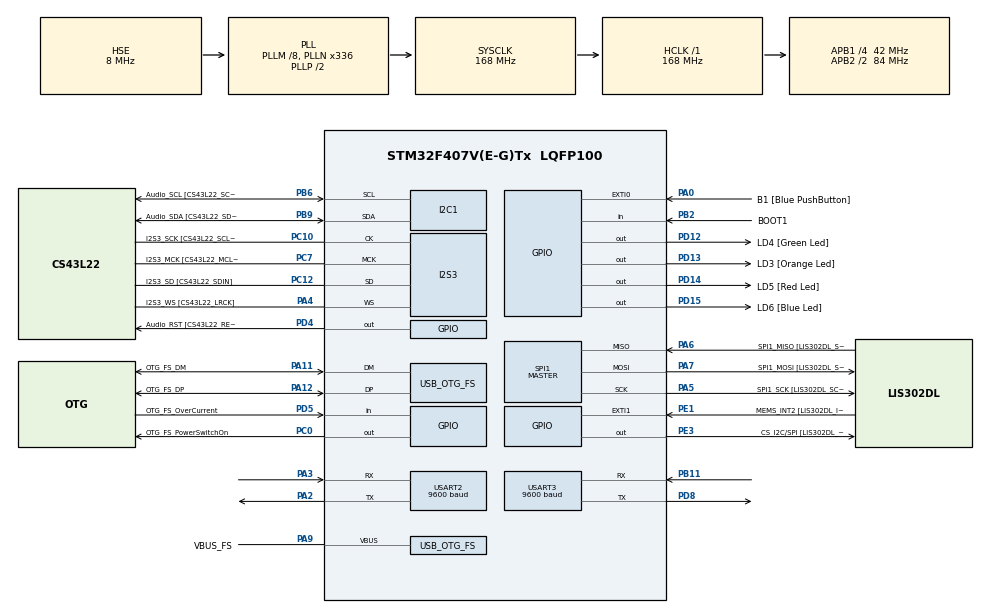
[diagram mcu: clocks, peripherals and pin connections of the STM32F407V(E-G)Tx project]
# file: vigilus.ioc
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I2S3.AudioFreq-Half_Duplex_Master=I2S_AUDIOFREQ_96K
I2S3.ErrorAudioFreq=-2.34 %
I2S3.ErrorAudioFreq-Half_Duplex_Master=0.8 %
I2S3.FullDuplexMode=I2S_FULLDUPLEXMODE_DISABLE
I2S3.Instance=SPI$Index
I2S3.RealAudioFreq=93.75 KHz
I2S3.RealAudioFreq-Half_Duplex_Master=96.774 KHz
I2S3.VirtualMode=I2S_MODE_MASTER
Mcu.Family=STM32F4
Mcu.Name=STM32F407V(E-G)Tx
Mcu.Package=LQFP100
NVIC.OTG_FS_IRQn=true\:0\:0\:false\:false\:true\:true\:true\:true
NVIC.PriorityGroup=NVIC_PRIORITYGROUP_0
NVIC.USART2_IRQn=true\:0\:0\:false\:false\:true\:true\:true\:true
NVIC.USART3_IRQn=true\:0\:0\:false\:false\:true\:true\:true\:true
PA0-WKUP.GPIO_Label=B1 [Blue PushButton]
PA0-WKUP.GPIO_ModeDefaultEXTI=GPIO_MODE_EVT_RISING
PA0-WKUP.GPIO_PuPd=GPIO_NOPULL
PA0-WKUP.Signal=GPXTI0
PA10.GPIO_Label=OTG_FS_ID
PA10.GPIO_Mode=GPIO_MODE_AF_PP
PA10.GPIO_PuPd=GPIO_NOPULL
PA10.GPIO_Speed=GPIO_SPEED_FREQ_LOW
PA10.Signal=USB_OTG_FS_ID
PA11.GPIO_Label=OTG_FS_DM
PA11.GPIO_Mode=GPIO_MODE_AF_PP
PA11.GPIO_PuPd=GPIO_NOPULL
PA11.GPIO_Speed=GPIO_SPEED_FREQ_LOW
PA11.Mode=Host_Only
PA11.Signal=USB_OTG_FS_DM
PA12.GPIO_Label=OTG_FS_DP
PA12.GPIO_Mode=GPIO_MODE_AF_PP
PA12.GPIO_PuPd=GPIO_NOPULL
PA12.GPIO_Speed=GPIO_SPEED_FREQ_LOW
PA12.Mode=Host_Only
PA12.Signal=USB_OTG_FS_DP
PA13.GPIO_Label=SWDIO
PA13.Mode=Serial_Wire
PA13.Signal=SYS_JTMS-SWDIO
PA14.GPIO_Label=SWCLK
PA14.Mode=Serial_Wire
PA14.Signal=SYS_JTCK-SWCLK
PA2.Mode=Asynchronous
PA2.Signal=USART2_TX
PA3.Mode=Asynchronous
PA3.Signal=USART2_RX
PA4.GPIO_Label=I2S3_WS [CS43L22_LRCK]
PA4.GPIO_Mode=GPIO_MODE_AF_PP
PA4.GPIO_PuPd=GPIO_NOPULL
PA4.GPIO_Speed=GPIO_SPEED_FREQ_LOW
PA4.Mode=Half_Duplex_Master
PA4.Signal=I2S3_WS
PA5.GPIO_Label=SPI1_SCK [LIS302DL_SCL/SPC]
PA5.GPIO_Mode=GPIO_MODE_AF_PP
PA5.GPIO_PuPd=GPIO_NOPULL
PA5.GPIO_Speed=GPIO_SPEED_FREQ_LOW
PA5.Mode=Full_Duplex_Master
PA5.Signal=SPI1_SCK
PA6.GPIO_Label=SPI1_MISO [LIS302DL_SDO]
PA6.GPIO_Mode=GPIO_MODE_AF_PP
PA6.GPIO_PuPd=GPIO_NOPULL
PA6.GPIO_Speed=GPIO_SPEED_FREQ_LOW
PA6.Mode=Full_Duplex_Master
PA6.Signal=SPI1_MISO
PA7.GPIO_Label=SPI1_MOSI [LIS302DL_SDA/SDI/SDO]
PA7.GPIO_Mode=GPIO_MODE_AF_PP
PA7.GPIO_PuPd=GPIO_NOPULL
PA7.GPIO_Speed=GPIO_SPEED_FREQ_LOW
PA7.Mode=Full_Duplex_Master
PA7.Signal=SPI1_MOSI
PA9.GPIO_Label=VBUS_FS
PA9.GPIO_Mode=GPIO_MODE_INPUT
PA9.GPIO_PuPd=GPIO_NOPULL
PA9.Mode=Activate_VBUS
PA9.Signal=USB_OTG_FS_VBUS
PB10.GPIO_Label=CLK_IN [MP45DT02_CLK]
PB10.GPIO_Mode=GPIO_MODE_AF_PP
PB10.GPIO_PuPd=GPIO_NOPULL
PB10.GPIO_Speed=GPIO_SPEED_FREQ_LOW
PB10.Signal=I2S2_CK
PB11.Mode=Asynchronous
PB11.Signal=USART3_RX
PB2.GPIO_Label=BOOT1
PB2.GPIO_Mode=GPIO_MODE_INPUT
PB2.GPIO_PuPd=GPIO_NOPULL
PB2.Signal=GPIO_Input
PB3.GPIO_Label=SWO
PB3.Signal=SYS_JTDO-SWO
PB6.GPIO_Label=Audio_SCL [CS43L22_SCL]
PB6.GPIO_Mode=GPIO_MODE_AF_OD
PB6.GPIO_Pu=GPIO_PULLUP
PB6.GPIO_PuPd=GPIO_NOPULL
PB6.GPIO_Speed=GPIO_SPEED_FREQ_LOW
PB6.Mode=I2C
PB6.Signal=I2C1_SCL
PB9.GPIO_Label=Audio_SDA [CS43L22_SDA]
PB9.GPIO_Mode=GPIO_MODE_AF_OD
PB9.GPIO_Pu=GPIO_PULLUP
PB9.GPIO_PuPd=GPIO_NOPULL
PB9.GPIO_Speed=GPIO_SPEED_FREQ_LOW
PB9.Mode=I2C
PB9.Signal=I2C1_SDA
PC0.GPIO_Label=OTG_FS_PowerSwitchOn
PC0.GPIO_PuPd=GPIO_NOPULL
PC0.GPIO_Speed=GPIO_SPEED_FREQ_LOW
PC0.PinState=GPIO_PIN_SET
PC0.Signal=GPIO_Output
PC10.GPIO_Label=I2S3_SCK [CS43L22_SCLK]
PC10.GPIO_Mode=GPIO_MODE_AF_PP
PC10.GPIO_PuPd=GPIO_NOPULL
PC10.GPIO_Speed=GPIO_SPEED_FREQ_LOW
PC10.Mode=Half_Duplex_Master
PC10.Signal=I2S3_CK
PC12.GPIO_Label=I2S3_SD [CS43L22_SDIN]
PC12.GPIO_Mode=GPIO_MODE_AF_PP
PC12.GPIO_PuPd=GPIO_NOPULL
PC12.GPIO_Speed=GPIO_SPEED_FREQ_LOW
PC12.Mode=Half_Duplex_Master
PC12.Signal=I2S3_SD
PC14-OSC32_IN.GPIO_Label=PC14-OSC32_IN
PC14-OSC32_IN.Mode=LSE-External-Oscillator
PC14-OSC32_IN.Signal=RCC_OSC32_IN
PC15-OSC32_OUT.GPIO_Label=PC15-OSC32_OUT
PC15-OSC32_OUT.Mode=LSE-External-Oscillator
PC15-OSC32_OUT.Signal=RCC_OSC32_OUT
PC3.GPIO_Label=PDM_OUT [MP45DT02_DOUT]
PC3.GPIO_Mode=GPIO_MODE_AF_PP
PC3.GPIO_PuPd=GPIO_NOPULL
PC3.GPIO_Speed=GPIO_SPEED_FREQ_LOW
PC3.Signal=I2S2_SD
PC7.GPIO_Label=I2S3_MCK [CS43L22_MCLK]
PC7.GPIO_Mode=GPIO_MODE_AF_PP
PC7.GPIO_PuPd=GPIO_NOPULL
PC7.GPIO_Speed=GPIO_SPEED_FREQ_LOW
PC7.Mode=Master_Clock_Activated
PC7.Signal=I2S3_MCK
PD12.GPIO_Label=LD4 [Green Led]
PD12.GPIO_PuPd=GPIO_NOPULL
PD12.GPIO_Speed=GPIO_SPEED_FREQ_LOW
PD12.Signal=GPIO_Output
PD13.GPIO_Label=LD3 [Orange Led]
PD13.GPIO_PuPd=GPIO_NOPULL
PD13.GPIO_Speed=GPIO_SPEED_FREQ_LOW
PD13.Signal=GPIO_Output
PD14.GPIO_Label=LD5 [Red Led]
PD14.GPIO_PuPd=GPIO_NOPULL
PD14.GPIO_Speed=GPIO_SPEED_FREQ_LOW
PD14.Signal=GPIO_Output
PD15.GPIO_Label=LD6 [Blue Led]
PD15.GPIO_PuPd=GPIO_NOPULL
PD15.GPIO_Speed=GPIO_SPEED_FREQ_LOW
PD15.Signal=GPIO_Output
PD4.GPIO_Label=Audio_RST [CS43L22_RESET]
PD4.GPIO_PuPd=GPIO_NOPULL
PD4.GPIO_Speed=GPIO_SPEED_FREQ_LOW
PD4.Signal=GPIO_Output
PD5.GPIO_Label=OTG_FS_OverCurrent
PD5.GPIO_Mode=GPIO_MODE_INPUT
PD5.GPIO_PuPd=GPIO_NOPULL
PD5.Signal=GPIO_Input
PD8.Mode=Asynchronous
PD8.Signal=USART3_TX
PE1.GPIO_Label=MEMS_INT2 [LIS302DL_INT2]
PE1.GPIO_ModeDefaultEXTI=GPIO_MODE_EVT_RISING
PE1.GPIO_PuPd=GPIO_NOPULL
PE1.Signal=GPXTI1
PE3.GPIO_Label=CS_I2C/SPI [LIS302DL_CS_I2C/SPI]
PE3.GPIO_PuPd=GPIO_NOPULL
PE3.GPIO_Speed=GPIO_SPEED_FREQ_LOW
PE3.Signal=GPIO_Output
PH0-OSC_IN.GPIO_Label=PH0-OSC_IN
PH0-OSC_IN.Mode=HSE-External-Oscillator
PH0-OSC_IN.Signal=RCC_OSC_IN
PH1-OSC_OUT.GPIO_Label=PH1-OSC_OUT
PH1-OSC_OUT.Mode=HSE-External-Oscillator
PH1-OSC_OUT.Signal=RCC_OSC_OUT
ProjectManager.HeapSize=0x200
ProjectManager.StackSize=0x400
ProjectManager.TargetToolchain=STM32CubeIDE
RCC.48MHZClocksFreq_Value=48000000
RCC.AHBFreq_Value=168000000
RCC.APB1CLKDivider=RCC_HCLK_DIV4
RCC.APB1Freq_Value=42000000
RCC.APB1TimFreq_Value=84000000
RCC.APB2CLKDivider=RCC_HCLK_DIV2
RCC.APB2Freq_Value=84000000
RCC.APB2TimFreq_Value=168000000
RCC.CortexFreq_Value=168000000
RCC.HCLKFreq_Value=168000000
RCC.HSE_VALUE=8000000
RCC.HSI_VALUE=16000000
RCC.PLLM=8
RCC.PLLN=336
RCC.PLLQ=7
RCC.SYSCLKFreq_VALUE=168000000
RCC.SYSCLKSource=RCC_SYSCLKSOURCE_PLLCLK
RCC.VCOOutputFreq_Value=336000000
SPI1.BaudRatePrescaler-Full_Duplex_Master=SPI_BAUDRATEPRESCALER_2
SPI1.CalculateBaudRate-Full_Duplex_Master=42.0 MBits/s
SPI1.Direction=SPI_DIRECTION_2LINES
SPI1.Mode=SPI_MODE_MASTER
SPI1.Mode-Full_Duplex_Master=SPI_MODE_MASTER
SPI1.VirtualType=VM_MASTER
USART2.BaudRate=9600
USART2.VirtualMode=VM_ASYNC
USART3.BaudRate=9600
USART3.VirtualMode=VM_ASYNC
USB_HOST.BSP.number=1
USB_HOST.USBH_HandleTypeDef-CDC_FS=hUsbHostFS
USB_HOST.VirtualModeFS=Cdc
USB_HOST0.BSP.STBoard=false
USB_HOST0.BSP.api=Unknown
USB_HOST0.BSP.instance=PC0
USB_HOST0.BSP.ip=GPIO
USB_HOST0.BSP.mode=Output
USB_HOST0.BSP.name=Drive_VBUS_FS
USB_HOST0.BSP.solution=PC0
USB_OTG_FS.VirtualMode=Host_Only
USB_OTG_FS.phy_itface=HCD_PHY_EMBEDDED
VP_USB_HOST_VS_USB_HOST_CDC_FS.Mode=CDC_FS
board=STM32F407G-DISC1

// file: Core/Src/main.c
/* USER CODE BEGIN Header */
/**
  ******************************************************************************
  * @file           : main.c
  * @brief          : Main program body
  ******************************************************************************
  */
/* USER CODE END Header */

#include "main.h"
#include "usb_host.h"
#include "mpu9250.h"
#include "bmp280.h"
#include "neo_m8n.h"
#include "xbee.h"

I2C_HandleTypeDef  hi2c1;
I2S_HandleTypeDef  hi2s3;
SPI_HandleTypeDef  hspi1;
UART_HandleTypeDef huart2;
UART_HandleTypeDef huart3;

/* USER CODE BEGIN PV */
MPU9250_Data imu       = {0};
BMP280_Data  bmp       = {0};
GPS_Data     gps       = {0};
uint32_t     last_tick = 0;
/* USER CODE END PV */

void SystemClock_Config(void);
static void MX_GPIO_Init(void);
static void MX_I2C1_Init(void);
static void MX_I2S3_Init(void);
static void MX_SPI1_Init(void);
static void MX_USART2_UART_Init(void);
static void MX_USART3_UART_Init(void);
void MX_USB_HOST_Process(void);

int main(void)
{
  HAL_Init();
  SystemClock_Config();

  MX_GPIO_Init();
  MX_I2C1_Init();
  MX_I2S3_Init();
  MX_SPI1_Init();
  MX_USB_HOST_Init();
  MX_USART2_UART_Init();
  MX_USART3_UART_Init();

  /* USER CODE BEGIN 2 */
  if (MPU9250_Init(&hi2c1) != HAL_OK) {
      HAL_GPIO_WritePin(GPIOD, LD5_Pin, GPIO_PIN_SET); // Kırmızı → MPU hata
      while(1);
  }
  if (BMP280_Init(&hi2c1) != HAL_OK) {
      HAL_GPIO_WritePin(GPIOD, LD3_Pin, GPIO_PIN_SET); // Turuncu → BMP hata
      while(1);
  }
  HAL_GPIO_WritePin(GPIOD, LD4_Pin, GPIO_PIN_SET);     // Yeşil → init OK
  GPS_Init(&huart2);
  /* USER CODE END 2 */

  while (1)
  {
    /* USER CODE BEGIN WHILE */
    MX_USB_HOST_Process();

    if (HAL_GetTick() - last_tick >= 1000)
    {
      last_tick = HAL_GetTick();

      MPU9250_ReadAll(&hi2c1, &imu);
      BMP280_Read(&hi2c1, &bmp);
      GPS_GetLatest(&gps);
      XBee_SendPacket(&huart3, &imu, &bmp, &gps);
    }

    /* USER CODE END WHILE */
  }
}

void SystemClock_Config(void)
{
  RCC_OscInitTypeDef RCC_OscInitStruct = {0};
  RCC_ClkInitTypeDef RCC_ClkInitStruct = {0};

  __HAL_RCC_PWR_CLK_ENABLE();
  __HAL_PWR_VOLTAGESCALING_CONFIG(PWR_REGULATOR_VOLTAGE_SCALE1);

  RCC_OscInitStruct.OscillatorType = RCC_OSCILLATORTYPE_HSE;
  RCC_OscInitStruct.HSEState       = RCC_HSE_ON;
  RCC_OscInitStruct.PLL.PLLState   = RCC_PLL_ON;
  RCC_OscInitStruct.PLL.PLLSource  = RCC_PLLSOURCE_HSE;
  RCC_OscInitStruct.PLL.PLLM       = 8;
  RCC_OscInitStruct.PLL.PLLN       = 336;
  RCC_OscInitStruct.PLL.PLLP       = RCC_PLLP_DIV2;
  RCC_OscInitStruct.PLL.PLLQ       = 7;
  if (HAL_RCC_OscConfig(&RCC_OscInitStruct) != HAL_OK) { Error_Handler(); }

  RCC_ClkInitStruct.ClockType      = RCC_CLOCKTYPE_HCLK | RCC_CLOCKTYPE_SYSCLK
                                   | RCC_CLOCKTYPE_PCLK1 | RCC_CLOCKTYPE_PCLK2;
  RCC_ClkInitStruct.SYSCLKSource   = RCC_SYSCLKSOURCE_PLLCLK;
  RCC_ClkInitStruct.AHBCLKDivider  = RCC_SYSCLK_DIV1;
  RCC_ClkInitStruct.APB1CLKDivider = RCC_HCLK_DIV4;
  RCC_ClkInitStruct.APB2CLKDivider = RCC_HCLK_DIV2;
  if (HAL_RCC_ClockConfig(&RCC_ClkInitStruct, FLASH_LATENCY_5) != HAL_OK) { Error_Handler(); }
}

static void MX_I2C1_Init(void)
{
  hi2c1.Instance             = I2C1;
  hi2c1.Init.ClockSpeed      = 100000;
  hi2c1.Init.DutyCycle       = I2C_DUTYCYCLE_2;
  hi2c1.Init.OwnAddress1     = 0;
  hi2c1.Init.AddressingMode  = I2C_ADDRESSINGMODE_7BIT;
  hi2c1.Init.DualAddressMode = I2C_DUALADDRESS_DISABLE;
  hi2c1.Init.OwnAddress2     = 0;
  hi2c1.Init.GeneralCallMode = I2C_GENERALCALL_DISABLE;
  hi2c1.Init.NoStretchMode   = I2C_NOSTRETCH_DISABLE;
  if (HAL_I2C_Init(&hi2c1) != HAL_OK) { Error_Handler(); }
}

static void MX_I2S3_Init(void)
{
  hi2s3.Instance            = SPI3;
  hi2s3.Init.Mode           = I2S_MODE_MASTER_TX;
  hi2s3.Init.Standard       = I2S_STANDARD_PHILIPS;
  hi2s3.Init.DataFormat     = I2S_DATAFORMAT_16B;
  hi2s3.Init.MCLKOutput     = I2S_MCLKOUTPUT_ENABLE;
  hi2s3.Init.AudioFreq      = I2S_AUDIOFREQ_96K;
  hi2s3.Init.CPOL           = I2S_CPOL_LOW;
  hi2s3.Init.ClockSource    = I2S_CLOCK_PLL;
  hi2s3.Init.FullDuplexMode = I2S_FULLDUPLEXMODE_DISABLE;
  if (HAL_I2S_Init(&hi2s3) != HAL_OK) { Error_Handler(); }
}

static void MX_SPI1_Init(void)
{
  hspi1.Instance               = SPI1;
  hspi1.Init.Mode              = SPI_MODE_MASTER;
  hspi1.Init.Direction         = SPI_DIRECTION_2LINES;
  hspi1.Init.DataSize          = SPI_DATASIZE_8BIT;
  hspi1.Init.CLKPolarity       = SPI_POLARITY_LOW;
  hspi1.Init.CLKPhase          = SPI_PHASE_1EDGE;
  hspi1.Init.NSS               = SPI_NSS_SOFT;
  hspi1.Init.BaudRatePrescaler = SPI_BAUDRATEPRESCALER_2;
  hspi1.Init.FirstBit          = SPI_FIRSTBIT_MSB;
  hspi1.Init.TIMode            = SPI_TIMODE_DISABLE;
  hspi1.Init.CRCCalculation    = SPI_CRCCALCULATION_DISABLE;
  hspi1.Init.CRCPolynomial     = 10;
  if (HAL_SPI_Init(&hspi1) != HAL_OK) { Error_Handler(); }
}

static void MX_USART2_UART_Init(void)
{
  huart2.Instance          = USART2;
  huart2.Init.BaudRate     = 9600;
  huart2.Init.WordLength   = UART_WORDLENGTH_8B;
  huart2.Init.StopBits     = UART_STOPBITS_1;
  huart2.Init.Parity       = UART_PARITY_NONE;
  huart2.Init.Mode         = UART_MODE_TX_RX;
  huart2.Init.HwFlowCtl    = UART_HWCONTROL_NONE;
  huart2.Init.OverSampling = UART_OVERSAMPLING_16;
  if (HAL_UART_Init(&huart2) != HAL_OK) { Error_Handler(); }
}

static void MX_USART3_UART_Init(void)
{
  huart3.Instance          = USART3;
  huart3.Init.BaudRate     = 9600;
  huart3.Init.WordLength   = UART_WORDLENGTH_8B;
  huart3.Init.StopBits     = UART_STOPBITS_1;
  huart3.Init.Parity       = UART_PARITY_NONE;
  huart3.Init.Mode         = UART_MODE_TX_RX;
  huart3.Init.HwFlowCtl    = UART_HWCONTROL_NONE;
  huart3.Init.OverSampling = UART_OVERSAMPLING_16;
  if (HAL_UART_Init(&huart3) != HAL_OK) { Error_Handler(); }
}

static void MX_GPIO_Init(void)
{
  GPIO_InitTypeDef GPIO_InitStruct = {0};

  __HAL_RCC_GPIOE_CLK_ENABLE();
  __HAL_RCC_GPIOC_CLK_ENABLE();
  __HAL_RCC_GPIOH_CLK_ENABLE();
  __HAL_RCC_GPIOA_CLK_ENABLE();
  __HAL_RCC_GPIOB_CLK_ENABLE();
  __HAL_RCC_GPIOD_CLK_ENABLE();

  HAL_GPIO_WritePin(CS_I2C_SPI_GPIO_Port, CS_I2C_SPI_Pin, GPIO_PIN_RESET);
  HAL_GPIO_WritePin(OTG_FS_PowerSwitchOn_GPIO_Port, OTG_FS_PowerSwitchOn_Pin, GPIO_PIN_SET);
  HAL_GPIO_WritePin(GPIOD, LD4_Pin|LD3_Pin|LD5_Pin|LD6_Pin|Audio_RST_Pin, GPIO_PIN_RESET);

  GPIO_InitStruct.Pin   = CS_I2C_SPI_Pin;
  GPIO_InitStruct.Mode  = GPIO_MODE_OUTPUT_PP;
  GPIO_InitStruct.Pull  = GPIO_NOPULL;
  GPIO_InitStruct.Speed = GPIO_SPEED_FREQ_LOW;
  HAL_GPIO_Init(CS_I2C_SPI_GPIO_Port, &GPIO_InitStruct);

  GPIO_InitStruct.Pin   = OTG_FS_PowerSwitchOn_Pin;
  GPIO_InitStruct.Mode  = GPIO_MODE_OUTPUT_PP;
  GPIO_InitStruct.Pull  = GPIO_NOPULL;
  GPIO_InitStruct.Speed = GPIO_SPEED_FREQ_LOW;
  HAL_GPIO_Init(OTG_FS_PowerSwitchOn_GPIO_Port, &GPIO_InitStruct);

  GPIO_InitStruct.Pin       = PDM_OUT_Pin;
  GPIO_InitStruct.Mode      = GPIO_MODE_AF_PP;
  GPIO_InitStruct.Pull      = GPIO_NOPULL;
  GPIO_InitStruct.Speed     = GPIO_SPEED_FREQ_LOW;
  GPIO_InitStruct.Alternate = GPIO_AF5_SPI2;
  HAL_GPIO_Init(PDM_OUT_GPIO_Port, &GPIO_InitStruct);

  GPIO_InitStruct.Pin  = B1_Pin;
  GPIO_InitStruct.Mode = GPIO_MODE_EVT_RISING;
  GPIO_InitStruct.Pull = GPIO_NOPULL;
  HAL_GPIO_Init(B1_GPIO_Port, &GPIO_InitStruct);

  GPIO_InitStruct.Pin  = BOOT1_Pin;
  GPIO_InitStruct.Mode = GPIO_MODE_INPUT;
  GPIO_InitStruct.Pull = GPIO_NOPULL;
  HAL_GPIO_Init(BOOT1_GPIO_Port, &GPIO_InitStruct);

  GPIO_InitStruct.Pin       = CLK_IN_Pin;
  GPIO_InitStruct.Mode      = GPIO_MODE_AF_PP;
  GPIO_InitStruct.Pull      = GPIO_NOPULL;
  GPIO_InitStruct.Speed     = GPIO_SPEED_FREQ_LOW;
  GPIO_InitStruct.Alternate = GPIO_AF5_SPI2;
  HAL_GPIO_Init(CLK_IN_GPIO_Port, &GPIO_InitStruct);

  GPIO_InitStruct.Pin   = LD4_Pin|LD3_Pin|LD5_Pin|LD6_Pin|Audio_RST_Pin;
  GPIO_InitStruct.Mode  = GPIO_MODE_OUTPUT_PP;
  GPIO_InitStruct.Pull  = GPIO_NOPULL;
  GPIO_InitStruct.Speed = GPIO_SPEED_FREQ_LOW;
  HAL_GPIO_Init(GPIOD, &GPIO_InitStruct);

  GPIO_InitStruct.Pin  = OTG_FS_OverCurrent_Pin;
  GPIO_InitStruct.Mode = GPIO_MODE_INPUT;
  GPIO_InitStruct.Pull = GPIO_NOPULL;
  HAL_GPIO_Init(OTG_FS_OverCurrent_GPIO_Port, &GPIO_InitStruct);

  GPIO_InitStruct.Pin  = MEMS_INT2_Pin;
  GPIO_InitStruct.Mode = GPIO_MODE_EVT_RISING;
  GPIO_InitStruct.Pull = GPIO_NOPULL;
  HAL_GPIO_Init(MEMS_INT2_GPIO_Port, &GPIO_InitStruct);
}

/* USER CODE BEGIN 4 */
void HAL_UART_RxCpltCallback(UART_HandleTypeDef *huart)
{
    if (huart->Instance == USART2)
    {
        GPS_UART_IRQHandler(huart);
    }
}
/* USER CODE END 4 */

void Error_Handler(void)
{
  __disable_irq();
  while (1) {}
}
